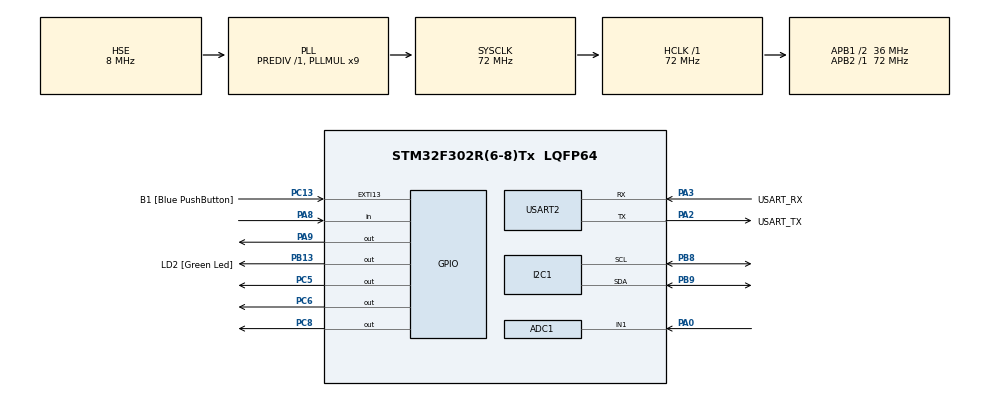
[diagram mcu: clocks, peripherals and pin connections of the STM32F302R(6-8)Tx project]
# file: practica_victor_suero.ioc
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ADC1.Channel-0\#ChannelRegularConversion=ADC_CHANNEL_1
ADC1.NbrOfConversionFlag=1
ADC1.Offset-0\#ChannelRegularConversion=0
ADC1.OffsetNumber-0\#ChannelRegularConversion=ADC_OFFSET_NONE
ADC1.Rank-0\#ChannelRegularConversion=1
ADC1.SamplingTime-0\#ChannelRegularConversion=ADC_SAMPLETIME_601CYCLES_5
ADC1.SamplingTimeOPAMP-0\#ChannelRegularConversion=ADC_SAMPLETIME_61CYCLES_5
ADC1.SubFamily=STM32F302x8
ADC1.master=1
Mcu.Family=STM32F3
Mcu.Name=STM32F302R(6-8)Tx
Mcu.Package=LQFP64
NVIC.PriorityGroup=NVIC_PRIORITYGROUP_0
NVIC.TIM2_IRQn=true\:0\:0\:false\:false\:true\:true\:true\:true
PA0.Mode=IN1-Single-Ended
PA0.Signal=ADC1_IN1
PA13.GPIO_Label=TMS
PA13.Mode=Serial_Wire
PA13.Signal=SYS_JTMS-SWDIO
PA14.GPIO_Label=TCK
PA14.Mode=Serial_Wire
PA14.Signal=SYS_JTCK-SWCLK
PA2.GPIO_Label=USART_TX
PA2.GPIO_Mode=GPIO_MODE_AF_PP
PA2.GPIO_PuPd=GPIO_NOPULL
PA2.GPIO_Speed=GPIO_SPEED_FREQ_LOW
PA2.Mode=Asynchronous
PA2.Signal=USART2_TX
PA3.GPIO_Label=USART_RX
PA3.GPIO_Mode=GPIO_MODE_AF_PP
PA3.GPIO_PuPd=GPIO_NOPULL
PA3.GPIO_Speed=GPIO_SPEED_FREQ_LOW
PA3.Mode=Asynchronous
PA3.Signal=USART2_RX
PA8.Signal=GPIO_Input
PA9.Signal=GPIO_Output
PB13.GPIO_Label=LD2 [Green Led]
PB13.Signal=GPIO_Output
PB3.GPIO_Label=SWO
PB3.Mode=Trace_Asynchronous_SW
PB3.Signal=SYS_JTDO-TRACESWO
PB8.Mode=I2C
PB8.Signal=I2C1_SCL
PB9.Mode=I2C
PB9.Signal=I2C1_SDA
PC13.GPIO_Label=B1 [Blue PushButton]
PC13.GPIO_ModeDefaultEXTI=GPIO_MODE_IT_FALLING
PC13.Signal=GPXTI13
PC14\ -\ OSC32_IN.Signal=RCC_OSC32_IN
PC15\ -\ OSC32_OUT.Signal=RCC_OSC32_OUT
PC5.Signal=GPIO_Output
PC6.Signal=GPIO_Output
PC8.Signal=GPIO_Output
PF0-OSC_IN.Mode=HSE-External-Oscillator
PF0-OSC_IN.Signal=RCC_OSC_IN
PF1-OSC_OUT.Mode=HSE-External-Oscillator
PF1-OSC_OUT.Signal=RCC_OSC_OUT
ProjectManager.HeapSize=0x200
ProjectManager.StackSize=0x400
ProjectManager.TargetToolchain=STM32CubeIDE
RCC.AHBFreq_Value=72000000
RCC.APB1CLKDivider=RCC_HCLK_DIV2
RCC.APB1Freq_Value=36000000
RCC.APB1TimFreq_Value=72000000
RCC.APB2Freq_Value=72000000
RCC.APB2TimFreq_Value=72000000
RCC.CortexFreq_Value=72000000
RCC.HCLKFreq_Value=72000000
RCC.HSE_VALUE=8000000
RCC.HSI_VALUE=8000000
RCC.PLLM=8
RCC.PLLMUL=RCC_PLL_MUL9
RCC.PLLN=336
RCC.PLLP=RCC_PLLP_DIV4
RCC.PLLQ=7
RCC.PLLSourceVirtual=RCC_PLLSOURCE_HSE
RCC.SYSCLKFreq_VALUE=72000000
RCC.SYSCLKSourceVirtual=RCC_SYSCLKSOURCE_PLLCLK
RCC.USBFreq_Value=72000000
TIM15.Prescaler=71
TIM2.Period=10000-1
TIM2.Prescaler=72-1
USART2.VirtualMode-Asynchronous=VM_ASYNC
VP_TIM15_VS_ClockSourceINT.Mode=Internal
VP_TIM2_VS_ClockSourceINT.Mode=Internal
board=NUCLEO-F302R8

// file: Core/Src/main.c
/* USER CODE BEGIN Header */
/**
  ******************************************************************************
  * @file           : main.c
  * @brief          : Main program body
  ******************************************************************************
  * @attention
  *
  * Copyright (c) 2024 STMicroelectronics.
  * All rights reserved.
  *
  * This software is licensed under terms that can be found in the LICENSE file
  * in the root directory of this software component.
  * If no LICENSE file comes with this software, it is provided AS-IS.
  *
  ******************************************************************************
  */
/* USER CODE END Header */
#include "main.h"

/* USER CODE BEGIN Includes */
#include"matriztarea1.h"
#include"i2c-lcd.h"
#include "ultrajorgesonic.h"
/* USER CODE END Includes */

/* USER CODE BEGIN PM */
#define Timer 	    10 //Tiempo de la interrupcion
#define Time_LCD    500
#define Time_keypad 250
#define Time_ADC    100
#define Time_matriz 1050
#define Time_sonic  2000
/* USER CODE END PM */

ADC_HandleTypeDef hadc1;

I2C_HandleTypeDef hi2c1;

TIM_HandleTypeDef htim2;
TIM_HandleTypeDef htim15;

UART_HandleTypeDef huart2;

/* USER CODE BEGIN PV */
struct FLAGS
{
	unsigned int LCD2:1;
	unsigned int KEYPAD:1;
	unsigned int ADC:1;
	unsigned int MATRIZ:1;
	unsigned int SONIC:1;
}FLAG;
uint32_t Medida_ADC;
/* USER CODE END PV */

void SystemClock_Config(void);
static void MX_GPIO_Init(void);
static void MX_USART2_UART_Init(void);
static void MX_ADC1_Init(void);
static void MX_I2C1_Init(void);
static void MX_TIM2_Init(void);
static void MX_TIM15_Init(void);

/* USER CODE BEGIN 0 */

void HAL_TIM_PeriodElapsedCallback(TIM_HandleTypeDef *htim)
{
	static unsigned int Count_LCD=0,Count_KEY=0,Count_ADC=0,Count_MATRIZ=0,Count_SONIC=0;

	if(htim->Instance==htim2.Instance)
	{

	//LDC
	if(Count_LCD<(Time_LCD/Timer))//Calculo para designar el tiempo(Tiempo en ms entre Tiempo de la interrupcion en ms)
	{
		Count_LCD++;
	}
	else
	{
		Count_LCD=0;
		FLAG.LCD2=1;
	}

	//KEYPAD
	if(Count_KEY<(Time_keypad/Timer))//Calculo para designar el tiempo(Tiempo en ms entre Tiempo de la interrupcion en ms)
		{
			Count_KEY++;
		}
		else
		{
			Count_KEY=0;
			FLAG.KEYPAD=1;
		}

	//ADC
	if(Count_ADC<(Time_ADC/Timer))
	{
		Count_ADC++;
	}
	else
	{
		Count_ADC=0;
		FLAG.ADC=1;
	}

	//MATRIZ
	if(Count_MATRIZ<(Time_matriz/Timer))
	{
		Count_MATRIZ++;
	}
	else
	{
		Count_MATRIZ=0;
		FLAG.MATRIZ=1;
	}

	//ULTRASONICO
	if(Count_SONIC<(Time_sonic/Timer))
	{
		Count_SONIC++;
	}
	else
	{
		Count_SONIC=0;
		FLAG.SONIC=1;
	}

	}

}
void MEDICION_ADC()
{

	HAL_ADC_Start(&hadc1); // inicio mi adc
	HAL_ADC_PollForConversion(&hadc1, 100);

	Medida_ADC = HAL_ADC_GetValue(&hadc1); // obtengo el valor de mi adc
	HAL_ADC_Stop(&hadc1); // detengo la lectura
}
void TASK_LCD(){
	lcd_clear();
			  lcd_enviar("ADC:", 0, 0);
		      lcd_enviar_int(Medida_ADC,0,4);
}

void TASK_MATRIZ(){
	 write_char('C', 1);
	 HAL_Delay(300);

}

void TASK_ULTRASONICO(){
	uint16_t Distance =  ultrasonido_medir_distancia();
	 lcd_clear();
			  	        lcd_put_cur(1, 6);
			  	        lcd_send_data((Distance/100) + 48);   // 100th pos
			  	        lcd_send_data(((Distance/10)%10) +48);  // 10th pos
			  	        lcd_send_data((Distance%10)+48);  // 1st pos
			  	        lcd_send_string(" CM");
}
void LIMPIAR_MATRIZ(){
	max_clear();
}

/* USER CODE END 0 */

int main(void)
{

  /* MCU Configuration--------------------------------------------------------*/

  /* Reset of all peripherals, Initializes the Flash interface and the Systick. */
  HAL_Init();

  /* Configure the system clock */
  SystemClock_Config();

  /* Initialize all configured peripherals */
  MX_GPIO_Init();
  MX_USART2_UART_Init();
  MX_ADC1_Init();
  MX_I2C1_Init();
  MX_TIM2_Init();
  MX_TIM15_Init();
  /* USER CODE BEGIN 2 */
  max_init(0x03);
   lcd_init();
   HAL_TIM_Base_Start_IT(&htim2);
   ultrasonido_init();
  /* USER CODE END 2 */

  /* Infinite loop */
  /* USER CODE BEGIN WHILE */
  while (1)
  {

	  //ADC MICRO
	  if(FLAG.ADC)
	  		  {
	  			  FLAG.ADC=0;
	  			  MEDICION_ADC();
	  		  }
     // LCDI2C
	  if(FLAG.LCD2)
	  	{
		  TASK_LCD();

	  	  FLAG.LCD2=0;
	  	}
	  //MATRIZ8X8
	  if(FLAG.MATRIZ)
	  	{
       TASK_MATRIZ();
      LIMPIAR_MATRIZ();

	  	  FLAG.MATRIZ=0;
	  	}
     //TAREA ULTRASONICSENSSOER
	  if(FLAG.SONIC)
	  	  	{
		  	     TASK_ULTRASONICO();

	  	  	  FLAG.SONIC=0;
	  	  	}
    /* USER CODE END WHILE */

  }
}

void SystemClock_Config(void)
{
  RCC_OscInitTypeDef RCC_OscInitStruct = {0};
  RCC_ClkInitTypeDef RCC_ClkInitStruct = {0};
  RCC_PeriphCLKInitTypeDef PeriphClkInit = {0};

  /** Initializes the RCC Oscillators according to the specified parameters
  * in the RCC_OscInitTypeDef structure.
  */
  RCC_OscInitStruct.OscillatorType = RCC_OSCILLATORTYPE_HSI|RCC_OSCILLATORTYPE_HSE;
  RCC_OscInitStruct.HSEState = RCC_HSE_ON;
  RCC_OscInitStruct.HSEPredivValue = RCC_HSE_PREDIV_DIV1;
  RCC_OscInitStruct.HSIState = RCC_HSI_ON;
  RCC_OscInitStruct.HSICalibrationValue = RCC_HSICALIBRATION_DEFAULT;
  RCC_OscInitStruct.PLL.PLLState = RCC_PLL_ON;
  RCC_OscInitStruct.PLL.PLLSource = RCC_PLLSOURCE_HSE;
  RCC_OscInitStruct.PLL.PLLMUL = RCC_PLL_MUL9;
  if (HAL_RCC_OscConfig(&RCC_OscInitStruct) != HAL_OK)
  {
    Error_Handler();
  }

  /** Initializes the CPU, AHB and APB buses clocks
  */
  RCC_ClkInitStruct.ClockType = RCC_CLOCKTYPE_HCLK|RCC_CLOCKTYPE_SYSCLK
                              |RCC_CLOCKTYPE_PCLK1|RCC_CLOCKTYPE_PCLK2;
  RCC_ClkInitStruct.SYSCLKSource = RCC_SYSCLKSOURCE_PLLCLK;
  RCC_ClkInitStruct.AHBCLKDivider = RCC_SYSCLK_DIV1;
  RCC_ClkInitStruct.APB1CLKDivider = RCC_HCLK_DIV2;
  RCC_ClkInitStruct.APB2CLKDivider = RCC_HCLK_DIV1;

  if (HAL_RCC_ClockConfig(&RCC_ClkInitStruct, FLASH_LATENCY_2) != HAL_OK)
  {
    Error_Handler();
  }
  PeriphClkInit.PeriphClockSelection = RCC_PERIPHCLK_I2C1|RCC_PERIPHCLK_TIM15
                              |RCC_PERIPHCLK_ADC1;
  PeriphClkInit.I2c1ClockSelection = RCC_I2C1CLKSOURCE_HSI;
  PeriphClkInit.Tim15ClockSelection = RCC_TIM15CLK_HCLK;
  PeriphClkInit.Adc1ClockSelection = RCC_ADC1PLLCLK_DIV1;

  if (HAL_RCCEx_PeriphCLKConfig(&PeriphClkInit) != HAL_OK)
  {
    Error_Handler();
  }
}

static void MX_ADC1_Init(void)
{

  ADC_ChannelConfTypeDef sConfig = {0};

  /** Common config
  */
  hadc1.Instance = ADC1;
  hadc1.Init.ClockPrescaler = ADC_CLOCK_ASYNC_DIV1;
  hadc1.Init.Resolution = ADC_RESOLUTION_12B;
  hadc1.Init.ScanConvMode = ADC_SCAN_DISABLE;
  hadc1.Init.ContinuousConvMode = DISABLE;
  hadc1.Init.DiscontinuousConvMode = DISABLE;
  hadc1.Init.ExternalTrigConvEdge = ADC_EXTERNALTRIGCONVEDGE_NONE;
  hadc1.Init.ExternalTrigConv = ADC_SOFTWARE_START;
  hadc1.Init.DataAlign = ADC_DATAALIGN_RIGHT;
  hadc1.Init.NbrOfConversion = 1;
  hadc1.Init.DMAContinuousRequests = DISABLE;
  hadc1.Init.EOCSelection = ADC_EOC_SINGLE_CONV;
  hadc1.Init.LowPowerAutoWait = DISABLE;
  hadc1.Init.Overrun = ADC_OVR_DATA_OVERWRITTEN;
  if (HAL_ADC_Init(&hadc1) != HAL_OK)
  {
    Error_Handler();
  }

  /** Configure Regular Channel
  */
  sConfig.Channel = ADC_CHANNEL_1;
  sConfig.Rank = ADC_REGULAR_RANK_1;
  sConfig.SingleDiff = ADC_SINGLE_ENDED;
  sConfig.SamplingTime = ADC_SAMPLETIME_601CYCLES_5;
  sConfig.OffsetNumber = ADC_OFFSET_NONE;
  sConfig.Offset = 0;
  if (HAL_ADC_ConfigChannel(&hadc1, &sConfig) != HAL_OK)
  {
    Error_Handler();
  }

}

static void MX_I2C1_Init(void)
{

  hi2c1.Instance = I2C1;
  hi2c1.Init.Timing = 0x2000090E;
  hi2c1.Init.OwnAddress1 = 0;
  hi2c1.Init.AddressingMode = I2C_ADDRESSINGMODE_7BIT;
  hi2c1.Init.DualAddressMode = I2C_DUALADDRESS_DISABLE;
  hi2c1.Init.OwnAddress2 = 0;
  hi2c1.Init.OwnAddress2Masks = I2C_OA2_NOMASK;
  hi2c1.Init.GeneralCallMode = I2C_GENERALCALL_DISABLE;
  hi2c1.Init.NoStretchMode = I2C_NOSTRETCH_DISABLE;
  if (HAL_I2C_Init(&hi2c1) != HAL_OK)
  {
    Error_Handler();
  }

  /** Configure Analogue filter
  */
  if (HAL_I2CEx_ConfigAnalogFilter(&hi2c1, I2C_ANALOGFILTER_ENABLE) != HAL_OK)
  {
    Error_Handler();
  }

  /** Configure Digital filter
  */
  if (HAL_I2CEx_ConfigDigitalFilter(&hi2c1, 0) != HAL_OK)
  {
    Error_Handler();
  }

}

static void MX_TIM2_Init(void)
{

  TIM_ClockConfigTypeDef sClockSourceConfig = {0};
  TIM_MasterConfigTypeDef sMasterConfig = {0};

  htim2.Instance = TIM2;
  htim2.Init.Prescaler = 72-1;
  htim2.Init.CounterMode = TIM_COUNTERMODE_UP;
  htim2.Init.Period = 10000-1;
  htim2.Init.ClockDivision = TIM_CLOCKDIVISION_DIV1;
  htim2.Init.AutoReloadPreload = TIM_AUTORELOAD_PRELOAD_DISABLE;
  if (HAL_TIM_Base_Init(&htim2) != HAL_OK)
  {
    Error_Handler();
  }
  sClockSourceConfig.ClockSource = TIM_CLOCKSOURCE_INTERNAL;
  if (HAL_TIM_ConfigClockSource(&htim2, &sClockSourceConfig) != HAL_OK)
  {
    Error_Handler();
  }
  sMasterConfig.MasterOutputTrigger = TIM_TRGO_RESET;
  sMasterConfig.MasterSlaveMode = TIM_MASTERSLAVEMODE_DISABLE;
  if (HAL_TIMEx_MasterConfigSynchronization(&htim2, &sMasterConfig) != HAL_OK)
  {
    Error_Handler();
  }

}

static void MX_TIM15_Init(void)
{

  TIM_ClockConfigTypeDef sClockSourceConfig = {0};
  TIM_MasterConfigTypeDef sMasterConfig = {0};

  htim15.Instance = TIM15;
  htim15.Init.Prescaler = 71;
  htim15.Init.CounterMode = TIM_COUNTERMODE_UP;
  htim15.Init.Period = 65535;
  htim15.Init.ClockDivision = TIM_CLOCKDIVISION_DIV1;
  htim15.Init.RepetitionCounter = 0;
  htim15.Init.AutoReloadPreload = TIM_AUTORELOAD_PRELOAD_DISABLE;
  if (HAL_TIM_Base_Init(&htim15) != HAL_OK)
  {
    Error_Handler();
  }
  sClockSourceConfig.ClockSource = TIM_CLOCKSOURCE_INTERNAL;
  if (HAL_TIM_ConfigClockSource(&htim15, &sClockSourceConfig) != HAL_OK)
  {
    Error_Handler();
  }
  sMasterConfig.MasterOutputTrigger = TIM_TRGO_RESET;
  sMasterConfig.MasterSlaveMode = TIM_MASTERSLAVEMODE_DISABLE;
  if (HAL_TIMEx_MasterConfigSynchronization(&htim15, &sMasterConfig) != HAL_OK)
  {
    Error_Handler();
  }

}

static void MX_USART2_UART_Init(void)
{

  huart2.Instance = USART2;
  huart2.Init.BaudRate = 38400;
  huart2.Init.WordLength = UART_WORDLENGTH_8B;
  huart2.Init.StopBits = UART_STOPBITS_1;
  huart2.Init.Parity = UART_PARITY_NONE;
  huart2.Init.Mode = UART_MODE_TX_RX;
  huart2.Init.HwFlowCtl = UART_HWCONTROL_NONE;
  huart2.Init.OverSampling = UART_OVERSAMPLING_16;
  huart2.Init.OneBitSampling = UART_ONE_BIT_SAMPLE_DISABLE;
  huart2.AdvancedInit.AdvFeatureInit = UART_ADVFEATURE_NO_INIT;
  if (HAL_UART_Init(&huart2) != HAL_OK)
  {
    Error_Handler();
  }

}

static void MX_GPIO_Init(void)
{
  GPIO_InitTypeDef GPIO_InitStruct = {0};

  /* GPIO Ports Clock Enable */
  __HAL_RCC_GPIOC_CLK_ENABLE();
  __HAL_RCC_GPIOF_CLK_ENABLE();
  __HAL_RCC_GPIOA_CLK_ENABLE();
  __HAL_RCC_GPIOB_CLK_ENABLE();

  /*Configure GPIO pin Output Level */
  HAL_GPIO_WritePin(GPIOC, GPIO_PIN_5|GPIO_PIN_6|GPIO_PIN_8, GPIO_PIN_RESET);

  /*Configure GPIO pin Output Level */
  HAL_GPIO_WritePin(LD2_GPIO_Port, LD2_Pin, GPIO_PIN_RESET);

  /*Configure GPIO pin Output Level */
  HAL_GPIO_WritePin(GPIOA, GPIO_PIN_9, GPIO_PIN_RESET);

  /*Configure GPIO pin : B1_Pin */
  GPIO_InitStruct.Pin = B1_Pin;
  GPIO_InitStruct.Mode = GPIO_MODE_IT_FALLING;
  GPIO_InitStruct.Pull = GPIO_NOPULL;
  HAL_GPIO_Init(B1_GPIO_Port, &GPIO_InitStruct);

  /*Configure GPIO pins : PC5 PC6 PC8 */
  GPIO_InitStruct.Pin = GPIO_PIN_5|GPIO_PIN_6|GPIO_PIN_8;
  GPIO_InitStruct.Mode = GPIO_MODE_OUTPUT_PP;
  GPIO_InitStruct.Pull = GPIO_NOPULL;
  GPIO_InitStruct.Speed = GPIO_SPEED_FREQ_LOW;
  HAL_GPIO_Init(GPIOC, &GPIO_InitStruct);

  /*Configure GPIO pin : LD2_Pin */
  GPIO_InitStruct.Pin = LD2_Pin;
  GPIO_InitStruct.Mode = GPIO_MODE_OUTPUT_PP;
  GPIO_InitStruct.Pull = GPIO_NOPULL;
  GPIO_InitStruct.Speed = GPIO_SPEED_FREQ_LOW;
  HAL_GPIO_Init(LD2_GPIO_Port, &GPIO_InitStruct);

  /*Configure GPIO pin : PA8 */
  GPIO_InitStruct.Pin = GPIO_PIN_8;
  GPIO_InitStruct.Mode = GPIO_MODE_INPUT;
  GPIO_InitStruct.Pull = GPIO_NOPULL;
  HAL_GPIO_Init(GPIOA, &GPIO_InitStruct);

  /*Configure GPIO pin : PA9 */
  GPIO_InitStruct.Pin = GPIO_PIN_9;
  GPIO_InitStruct.Mode = GPIO_MODE_OUTPUT_PP;
  GPIO_InitStruct.Pull = GPIO_NOPULL;
  GPIO_InitStruct.Speed = GPIO_SPEED_FREQ_LOW;
  HAL_GPIO_Init(GPIOA, &GPIO_InitStruct);

}

void Error_Handler(void)
{
  __disable_irq();
  while (1)
  {
  }
}
